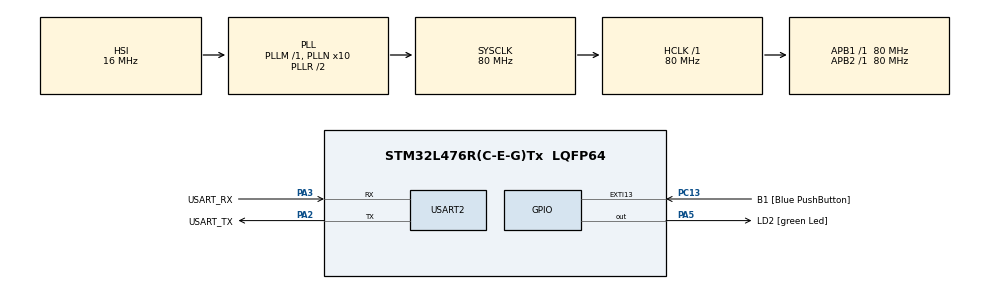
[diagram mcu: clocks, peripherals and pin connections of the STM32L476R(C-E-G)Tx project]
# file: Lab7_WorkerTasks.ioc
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FREERTOS.Tasks01=defaultTask,24,128,StartDefaultTask,Default,NULL,Dynamic,NULL,NULL;checkIfPerfectT,8,128,StartTask02,Default,NULL,Dynamic,NULL,NULL
FREERTOS.configTOTAL_HEAP_SIZE=65536
FREERTOS.configUSE_NEWLIB_REENTRANT=1
Mcu.Family=STM32L4
Mcu.Name=STM32L476R(C-E-G)Tx
Mcu.Package=LQFP64
NVIC.PriorityGroup=NVIC_PRIORITYGROUP_4
PA13\ (JTMS-SWDIO).GPIO_Label=TMS
PA13\ (JTMS-SWDIO).Mode=Serial_Wire
PA13\ (JTMS-SWDIO).Signal=SYS_JTMS-SWDIO
PA14\ (JTCK-SWCLK).GPIO_Label=TCK
PA14\ (JTCK-SWCLK).Mode=Serial_Wire
PA14\ (JTCK-SWCLK).Signal=SYS_JTCK-SWCLK
PA2.GPIO_Label=USART_TX
PA2.GPIO_Mode=GPIO_MODE_AF_PP
PA2.GPIO_PuPd=GPIO_NOPULL
PA2.GPIO_Speed=GPIO_SPEED_FREQ_VERY_HIGH
PA2.Mode=Asynchronous
PA2.Signal=USART2_TX
PA3.GPIO_Label=USART_RX
PA3.GPIO_Mode=GPIO_MODE_AF_PP
PA3.GPIO_PuPd=GPIO_NOPULL
PA3.GPIO_Speed=GPIO_SPEED_FREQ_VERY_HIGH
PA3.Mode=Asynchronous
PA3.Signal=USART2_RX
PA5.GPIO_Label=LD2 [green Led]
PA5.GPIO_ModeDefaultOutputPP=GPIO_MODE_OUTPUT_PP
PA5.GPIO_PuPd=GPIO_NOPULL
PA5.GPIO_Speed=GPIO_SPEED_FREQ_LOW
PA5.Signal=GPIO_Output
PB3\ (JTDO-TRACESWO).GPIO_Label=SWO
PB3\ (JTDO-TRACESWO).Signal=SYS_JTDO-SWO
PC13.GPIO_Label=B1 [Blue PushButton]
PC13.GPIO_ModeDefaultEXTI=GPIO_MODE_IT_FALLING
PC13.GPIO_PuPd=GPIO_NOPULL
PC13.Signal=GPXTI13
PC14-OSC32_IN\ (PC14).Mode=LSE-External-Oscillator
PC14-OSC32_IN\ (PC14).Signal=RCC_OSC32_IN
PC15-OSC32_OUT\ (PC15).Mode=LSE-External-Oscillator
PC15-OSC32_OUT\ (PC15).Signal=RCC_OSC32_OUT
PH0-OSC_IN\ (PH0).Signal=RCC_OSC_IN
PH1-OSC_OUT\ (PH1).Signal=RCC_OSC_OUT
ProjectManager.HeapSize=0x200
ProjectManager.StackSize=0x400
ProjectManager.TargetToolchain=STM32CubeIDE
RCC.ADCFreq_Value=64000000
RCC.AHBFreq_Value=80000000
RCC.APB1Freq_Value=80000000
RCC.APB1TimFreq_Value=80000000
RCC.APB2Freq_Value=80000000
RCC.APB2TimFreq_Value=80000000
RCC.CortexFreq_Value=80000000
RCC.HCLKFreq_Value=80000000
RCC.HSE_VALUE=8000000
RCC.HSI_VALUE=16000000
RCC.MSI_VALUE=4000000
RCC.PLLN=10
RCC.PLLSourceVirtual=RCC_PLLSOURCE_HSI
RCC.PREFETCH_ENABLE=1
RCC.SYSCLKFreq_VALUE=80000000
RCC.SYSCLKSource=RCC_SYSCLKSOURCE_PLLCLK
RCC.USBFreq_Value=64000000
RCC.VCOOutputFreq_Value=160000000
USART2.VirtualMode-Asynchronous=VM_ASYNC
VP_FREERTOS_VS_CMSIS_V2.Mode=CMSIS_V2
board=NUCLEO-L476RG

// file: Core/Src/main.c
/* USER CODE BEGIN Header */
/**
  ******************************************************************************
  * @file           : main.c
  * @brief          : Main program body
  ******************************************************************************
  * @attention
  *
  * Copyright (c) 2026 STMicroelectronics.
  * All rights reserved.
  *
  * This software is licensed under terms that can be found in the LICENSE file
  * in the root directory of this software component.
  * If no LICENSE file comes with this software, it is provided AS-IS.
  *
  ******************************************************************************
  */
/* USER CODE END Header */
#include "main.h"
#include "cmsis_os.h"

UART_HandleTypeDef huart2;

/* Definitions for defaultTask */

void SystemClock_Config(void);
static void MX_GPIO_Init(void);
static void MX_USART2_UART_Init(void);

/* USER CODE BEGIN PFP */
void App_RTOS_Init(void);
/* USER CODE END PFP */

/* USER CODE BEGIN 0 */
const char uartMsg[] = "Jeff Taylor - Lab 7\r\n CPET 461 - Workers\r\n";
/* USER CODE END 0 */

int main(void)
{

  /* MCU Configuration--------------------------------------------------------*/

  /* Reset of all peripherals, Initializes the Flash interface and the Systick. */
  HAL_Init();

  /* Configure the system clock */
  SystemClock_Config();

  /* Initialize all configured peripherals */
  MX_GPIO_Init();
  MX_USART2_UART_Init();
  /* USER CODE BEGIN 2 */
  HAL_UART_Transmit(&huart2, (uint8_t*)uartMsg, sizeof(uartMsg) - 1, HAL_MAX_DELAY); // print UART message BEFORE rtos starts
  /* USER CODE END 2 */

  /* Init scheduler */
  osKernelInitialize();

  /* Create the thread(s) */
  /* creation of defaultTask */
  //defaultTaskHandle = osThreadNew(StartDefaultTask, NULL, &defaultTask_attributes);

  /* creation of checkIfPerfectT */
  //checkIfPerfectTHandle = osThreadNew(StartTask02, NULL, &checkIfPerfectT_attributes);

  /* USER CODE BEGIN RTOS_EVENTS */
  /* add events, ... */
  App_RTOS_Init();
  /* USER CODE END RTOS_EVENTS */

  /* Start scheduler */
  osKernelStart();

  /* We should never get here as control is now taken by the scheduler */

  /* Infinite loop */
  while (1)
  {

  }
}

void SystemClock_Config(void)
{
  RCC_OscInitTypeDef RCC_OscInitStruct = {0};
  RCC_ClkInitTypeDef RCC_ClkInitStruct = {0};

  /** Configure the main internal regulator output voltage
  */
  if (HAL_PWREx_ControlVoltageScaling(PWR_REGULATOR_VOLTAGE_SCALE1) != HAL_OK)
  {
    Error_Handler();
  }

  /** Initializes the RCC Oscillators according to the specified parameters
  * in the RCC_OscInitTypeDef structure.
  */
  RCC_OscInitStruct.OscillatorType = RCC_OSCILLATORTYPE_HSI;
  RCC_OscInitStruct.HSIState = RCC_HSI_ON;
  RCC_OscInitStruct.HSICalibrationValue = RCC_HSICALIBRATION_DEFAULT;
  RCC_OscInitStruct.PLL.PLLState = RCC_PLL_ON;
  RCC_OscInitStruct.PLL.PLLSource = RCC_PLLSOURCE_HSI;
  RCC_OscInitStruct.PLL.PLLM = 1;
  RCC_OscInitStruct.PLL.PLLN = 10;
  RCC_OscInitStruct.PLL.PLLP = RCC_PLLP_DIV7;
  RCC_OscInitStruct.PLL.PLLQ = RCC_PLLQ_DIV2;
  RCC_OscInitStruct.PLL.PLLR = RCC_PLLR_DIV2;
  if (HAL_RCC_OscConfig(&RCC_OscInitStruct) != HAL_OK)
  {
    Error_Handler();
  }

  /** Initializes the CPU, AHB and APB buses clocks
  */
  RCC_ClkInitStruct.ClockType = RCC_CLOCKTYPE_HCLK|RCC_CLOCKTYPE_SYSCLK
                              |RCC_CLOCKTYPE_PCLK1|RCC_CLOCKTYPE_PCLK2;
  RCC_ClkInitStruct.SYSCLKSource = RCC_SYSCLKSOURCE_PLLCLK;
  RCC_ClkInitStruct.AHBCLKDivider = RCC_SYSCLK_DIV1;
  RCC_ClkInitStruct.APB1CLKDivider = RCC_HCLK_DIV1;
  RCC_ClkInitStruct.APB2CLKDivider = RCC_HCLK_DIV1;

  if (HAL_RCC_ClockConfig(&RCC_ClkInitStruct, FLASH_LATENCY_4) != HAL_OK)
  {
    Error_Handler();
  }
}

static void MX_USART2_UART_Init(void)
{

  huart2.Instance = USART2;
  huart2.Init.BaudRate = 115200;
  huart2.Init.WordLength = UART_WORDLENGTH_8B;
  huart2.Init.StopBits = UART_STOPBITS_1;
  huart2.Init.Parity = UART_PARITY_NONE;
  huart2.Init.Mode = UART_MODE_TX_RX;
  huart2.Init.HwFlowCtl = UART_HWCONTROL_NONE;
  huart2.Init.OverSampling = UART_OVERSAMPLING_16;
  huart2.Init.OneBitSampling = UART_ONE_BIT_SAMPLE_DISABLE;
  huart2.AdvancedInit.AdvFeatureInit = UART_ADVFEATURE_NO_INIT;
  if (HAL_UART_Init(&huart2) != HAL_OK)
  {
    Error_Handler();
  }

}

static void MX_GPIO_Init(void)
{
  GPIO_InitTypeDef GPIO_InitStruct = {0};

  /* GPIO Ports Clock Enable */
  __HAL_RCC_GPIOC_CLK_ENABLE();
  __HAL_RCC_GPIOH_CLK_ENABLE();
  __HAL_RCC_GPIOA_CLK_ENABLE();
  __HAL_RCC_GPIOB_CLK_ENABLE();

  /*Configure GPIO pin Output Level */
  HAL_GPIO_WritePin(LD2_GPIO_Port, LD2_Pin, GPIO_PIN_RESET);

  /*Configure GPIO pin : B1_Pin */
  GPIO_InitStruct.Pin = B1_Pin;
  GPIO_InitStruct.Mode = GPIO_MODE_IT_FALLING;
  GPIO_InitStruct.Pull = GPIO_NOPULL;
  HAL_GPIO_Init(B1_GPIO_Port, &GPIO_InitStruct);

  /*Configure GPIO pin : LD2_Pin */
  GPIO_InitStruct.Pin = LD2_Pin;
  GPIO_InitStruct.Mode = GPIO_MODE_OUTPUT_PP;
  GPIO_InitStruct.Pull = GPIO_NOPULL;
  GPIO_InitStruct.Speed = GPIO_SPEED_FREQ_LOW;
  HAL_GPIO_Init(LD2_GPIO_Port, &GPIO_InitStruct);

}

void Error_Handler(void)
{
  __disable_irq();
  while (1)
  {
  }
}

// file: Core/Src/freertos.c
/* USER CODE BEGIN Header */
/**
  ******************************************************************************
  * File Name          : freertos.c
  * Description        : Code for freertos applications
  ******************************************************************************
  * @attention
  *
  * Copyright (c) 2026 STMicroelectronics.
  * All rights reserved.
  *
  * This software is licensed under terms that can be found in the LICENSE file
  * in the root directory of this software component.
  * If no LICENSE file comes with this software, it is provided AS-IS.
  *
  ******************************************************************************
  */
/* USER CODE END Header */

#include "FreeRTOS.h"
#include "task.h"
#include "main.h"

/* USER CODE BEGIN Includes */
#include "print.h"
#include <stdio.h>
/* USER CODE END Includes */

/* USER CODE BEGIN PD */
#define USE_MUTEX 1
#define LOW_WORK_ITERATIONS 8
#define LOW_WORK_DELAY_MS   250
#define MED_WORK_ITERATIONS 4
#define MED_WORK_DELAY_MS   500
/* USER CODE END PD */

/* USER CODE BEGIN PM */
#define numTasks 30
static int workerNum[numTasks];
volatile int tasksDone = 0;
uint32_t startTime = 0;
uint32_t endTime = 0;
/* USER CODE END PM */

/* USER CODE BEGIN Variables */

/* Definitions for lowPriorityTask */
osThreadId_t defaultTaskHandle;
const osThreadAttr_t defaultTask_attributes = {
  .name = "defaultTask",
  .stack_size = 128 * 4,
  .priority = (osPriority_t) osPriorityNormal,
};
/* Definitions for checkIfPerfectT */
osThreadId_t checkIfPerfectTHandle;
const osThreadAttr_t checkIfPerfectT_attributes = {
  .name = "checkIfPerfectT",
  .stack_size = 256 * 4,
  .priority = (osPriority_t) osPriorityLow,
};

// Semaphore and Mutex

osMutexId_t workerDoneMutexHandle;
const osMutexAttr_t workerDoneMutex_attr = {
  .name = "workerDoneMutex"
};

/* USER CODE END Variables */

/* USER CODE BEGIN FunctionPrototypes */
void App_RTOS_Init(void);

void StartDefaultTask(void *argument);
void StartWorkerTask(void *argument);

int isPerfect(int);
/* USER CODE END FunctionPrototypes */

/* USER CODE BEGIN Application */

void App_RTOS_Init(void)
{
	Print_Init();

	workerDoneMutexHandle = osMutexNew(&workerDoneMutex_attr);

	defaultTaskHandle = osThreadNew(StartDefaultTask, NULL, &defaultTask_attributes);

	for (int i = 0; i < numTasks; i++) {
		workerNum[i] = i;
		checkIfPerfectTHandle = osThreadNew(StartWorkerTask, &workerNum[i], &checkIfPerfectT_attributes);
	}

}

void StartDefaultTask(void *argument)
{
  /* USER CODE BEGIN 5 */
  /* Infinite loop */
    while (1)
    {
        if (tasksDone == numTasks)
        {
            endTime = xTaskGetTickCount();

            uint32_t totalTime = endTime - startTime;

            Print_Line("Total time: %lu ticks", totalTime);

            // stop here so it doesn’t spam
            while (1);
        }

        osDelay(10);
    }
  /* USER CODE END 5 */
}

//---------------------------------------------//
// WORKER TASK
//---------------------------------------------//
void StartWorkerTask(void *argument)
{

	// worker ID to keep track of the workers
	int id = *(int*) argument;
	(void)id;

	Print_Line("Worker %d started...", id);
    for (int i = 0; i < (180 / numTasks); i++)
    {
        isPerfect(65530);
    }

    osMutexAcquire(workerDoneMutexHandle, osWaitForever);
    tasksDone++;
    osMutexRelease(workerDoneMutexHandle);

    osThreadExit();

}

int isPerfect(int n)
{
    if (n <= 1)
    {
        return 0;
    }

    int sum = 1;  // 1 is always a proper divisor for n > 1

    for (int i = 2; i <= n / 2; i++)
    {
        if ((n % i) == 0)
        {
            sum += i;
        }
    }

    return (sum == n);
}
/* USER CODE END Application */
